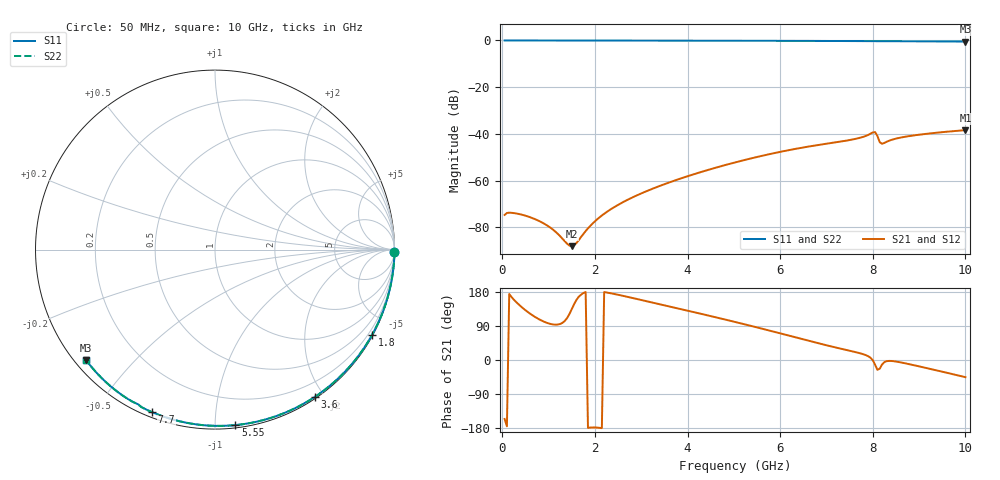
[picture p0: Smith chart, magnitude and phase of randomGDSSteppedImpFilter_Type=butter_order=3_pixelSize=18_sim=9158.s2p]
! freq	dB(S11)	phase(S11)	dB(S12)	phase(S12)
!  dB(S21)	phase(S21)	dB(S22)	phase(S22)
!S-par simulation data
#  GHz  S  DB  R 50
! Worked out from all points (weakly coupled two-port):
!   200 points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, 50 MHz to 10 GHz, reference 50 ohm
!   highest |S21| = -38.37 dB at 10 GHz (marker M1); lowest = -88.0 dB at 1.5 GHz (marker M2)
!   lowest |S11| = -0.5 dB at 10 GHz (marker M3), VSWR 36.09, Z = 1.58 - j18.5 ohm
!   |S11| at or under -10 dB: nowhere
!   |S22| runs from -0.5 to 0.0 dB; largest |S21 - S12| = 0
!   S11 on the Smith chart (normalised r, x): 50 MHz: open; 1.8 GHz: 0.03, -3.92; 3.6 GHz: 0.02, -1.88; 5.55 GHz: 0.02, -1.12; 7.7 GHz: 0.02, -0.68; 10 GHz: 0.03, -0.37
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0.05  -0.00 -0.8  -74.64 -155.6  -74.64 -155.6  -0.00 -0.8
0.15  -0.00 -2.4  -73.67 174.2  -73.67 174.2  -0.00 -2.4
0.45  -0.01 -7.3  -74.67 136.3  -74.67 136.3  -0.01 -7.3
1.05  -0.02 -16.8  -80.24 94.9  -80.24 94.9  -0.02 -16.8
1.5  -0.03 -23.9  -87.99 134.1  -87.99 134.1  -0.03 -23.9
1.75  -0.04 -27.9  -82.77 176.6  -82.77 176.6  -0.04 -27.9
1.8  -0.04 -28.6  -81.54 179.3  -81.54 179.3  -0.04 -28.6
1.85  -0.04 -29.4  -80.38 -179.1  -80.38 -179.1  -0.04 -29.4
2.2  -0.04 -34.8  -74.13 179.3  -74.13 179.3  -0.04 -34.8
2.55  -0.05 -40.2  -69.77 170.8  -69.77 170.8  -0.05 -40.2
3.4  -0.07 -53.0  -62.22 147.1  -62.22 147.1  -0.07 -53.0
3.6  -0.08 -55.9  -60.77 141.5  -60.77 141.5  -0.08 -55.9
5.05  -0.12 -76.5  -52.05 99.7  -52.05 99.7  -0.12 -76.5
5.55  -0.14 -83.3  -49.61 84.5  -49.61 84.5  -0.14 -83.3
6.7  -0.19 -98.5  -45.10 48.1  -45.10 48.1  -0.19 -98.5
7.7  -0.25 -111.2  -41.76 18.6  -41.76 18.6  -0.25 -111.2
8.05  -0.30 -115.8  -39.20 -12.5  -39.20 -12.5  -0.30 -115.8
8.15  -0.33 -116.7  -43.50 -23.0  -43.50 -23.0  -0.33 -116.7
8.2  -0.32 -117.3  -44.20 -12.0  -44.20 -12.0  -0.32 -117.3
8.35  -0.32 -119.2  -42.91 -2.4  -42.91 -2.4  -0.32 -119.1
8.9  -0.36 -125.9  -40.58 -14.0  -40.58 -14.0  -0.36 -125.9
10  -0.48 -139.3  -38.37 -45.3  -38.37 -45.3  -0.48 -139.3
